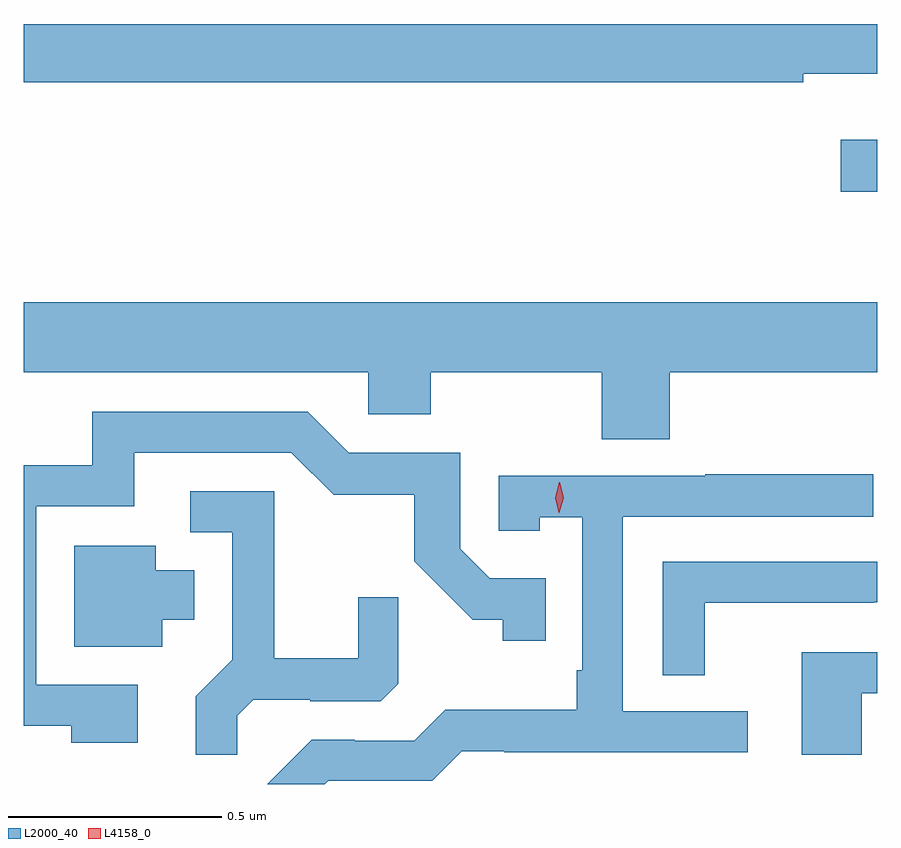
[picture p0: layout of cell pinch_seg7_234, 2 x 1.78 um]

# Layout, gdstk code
import gdstk
lib = gdstk.Library(unit=1e-6, precision=1e-09)
def R(c, l, rs):  # rectangles x0, y0, x1, y1
    for r in rs: c.add(gdstk.rectangle(r[:2], r[2:], *l))
def P(c, l, *ps):  # polygons
    for p in ps: c.add(gdstk.Polygon(p, *l))
L2000_40 = (2000, 40)
L4158_0 = (4158, 0)

pinch_seg7_234 = lib.new_cell('pinch_seg7_234')
R(pinch_seg7_234, L2000_40, [(636.864,1080.959,636.95,1081.081)])
P(pinch_seg7_234, L2000_40, [(636.776,1081.236),(636.95,1081.236),(636.95,1081.352),(634.95,1081.352),(634.95,1081.216),(636.776,1081.216)],
  [(636.464,1080.536),(636.95,1080.536),(636.95,1080.7),(634.95,1080.7),(634.95,1080.536),(635.757,1080.536),(635.757,1080.438),(635.904,1080.438),(635.904,1080.536),(636.304,1080.536),(636.304,1080.379),(636.464,1080.379)],
  [(635.218,1079.805),(634.98,1079.805),(634.98,1080.222),(635.209,1080.222),(635.209,1080.348),(635.577,1080.348),(635.676,1080.25),(635.865,1080.25),(635.865,1080.094),(636.002,1079.957),(636.072,1079.957),(636.072,1079.907),(636.173,1079.907),(636.173,1080.054),(636.042,1080.054),(635.973,1080.123),(635.973,1080.348),(635.712,1080.348),(635.616,1080.444),(635.111,1080.444),(635.111,1080.318),(634.95,1080.318),(634.95,1079.709),(635.062,1079.709),(635.062,1079.669),(635.218,1079.669)],
  [(635.664,1079.58),(635.907,1079.58),(635.976,1079.649),(636.076,1079.649),(636.076,1079.646),(636.646,1079.646),(636.646,1079.742),(636.354,1079.742),(636.354,1080.198),(636.94,1080.198),(636.94,1080.297),(636.547,1080.297),(636.547,1080.294),(636.063,1080.294),(636.063,1080.165),(636.159,1080.165),(636.159,1080.197),(636.258,1080.197),(636.258,1079.839),(636.246,1079.839),(636.246,1079.746),(635.938,1079.746),(635.865,1079.673),(635.726,1079.673),(635.726,1079.676),(635.625,1079.676),(635.521,1079.572),(635.656,1079.572)],
  [(635.451,1079.732),(635.488,1079.769),(635.622,1079.769),(635.622,1079.766),(635.787,1079.766),(635.828,1079.807),(635.828,1080.009),(635.734,1080.009),(635.734,1079.866),(635.537,1079.866),(635.537,1080.258),(635.34,1080.258),(635.34,1080.162),(635.439,1080.162),(635.439,1079.863),(635.353,1079.777),(635.353,1079.641),(635.451,1079.641)],
  [(635.275,1079.957),(635.35,1079.957),(635.35,1080.073),(635.26,1080.073),(635.26,1080.13),(635.069,1080.13),(635.069,1079.894),(635.275,1079.894)],
  [(636.546,1079.997),(636.941,1079.997),(636.941,1079.998),(636.95,1079.998),(636.95,1080.093),(636.447,1080.093),(636.447,1079.827),(636.546,1079.827)],
  [(636.913,1079.784),(636.95,1079.784),(636.95,1079.88),(636.773,1079.88),(636.773,1079.641),(636.913,1079.641)])
P(pinch_seg7_234, L4158_0, [(636.204,1080.207),(636.204,1080.207),(636.195,1080.243),(636.205,1080.279),(636.205,1080.279),(636.206,1080.279),(636.215,1080.243),(636.205,1080.207)])

lib.write_gds('pinch_seg7_234.gds')
